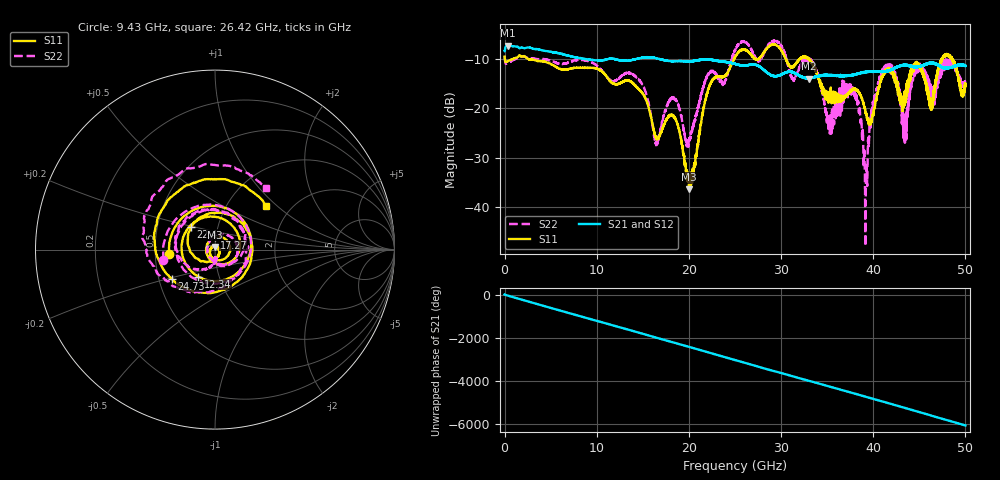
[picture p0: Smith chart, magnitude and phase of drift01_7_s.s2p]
!Created with skrf (http://scikit-rf.org).
# Hz S RI R 50.0
!freq ReS11 ImS11 ReS21 ImS21 ReS12 ImS12 ReS22 ImS22
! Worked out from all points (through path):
!   10001 points, 300 kHz to 50 GHz, reference 50 ohm
!   highest |S21| = -7.33 dB at 325.3 MHz (marker M1); lowest = -14.0 dB at 33.02 GHz (marker M2)
!   group delay of S21, straight-line fit = 335 ps
!   lowest |S11| = -36.4 dB at 20.01 GHz (marker M3), VSWR 1.03, Z = 49.8 + j1.5 ohm
!   |S11| at or under -10 dB: 2.555 GHz to 24.9 GHz (22.35 GHz wide, 163 % of centre); 30.5 GHz to 32.01 GHz (1.512 GHz wide, 4.84 % of centre); 33.04 GHz to 47.41 GHz (14.38 GHz wide, 35.7 % of centre) (the widest 3 of 25)
!   |S22| runs from -47.9 to -6.3 dB; largest |S21 - S12| = 0.0085
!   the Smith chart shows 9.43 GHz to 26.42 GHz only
!   S11 on the Smith chart (normalised r, x): 9.43 GHz: 0.59, -0.03; 12.34 GHz: 0.80, -0.25; 17.27 GHz: 0.99, +0.13; 22.4 GHz: 0.74, +0.20; 24.73 GHz: 0.58, -0.21; 26.42 GHz: 1.53, +0.85
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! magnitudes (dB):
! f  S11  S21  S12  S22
! 300 kHz  -9.5  -8.4  -8.5  -9.5
! 325.3 MHz  -10.5  -7.3  -7.3  -10.9
! 8.335 GHz  -11.8  -9.9  -9.9  -10.2
! 9.43 GHz  -11.8  -10.2  -10.2  -10.7
! 12.34 GHz  -15.1  -10.2  -10.2  -14.0
! 16.67 GHz  -26.2  -10.0  -10.0  -27.0
! 17.27 GHz  -23.4  -10.2  -10.2  -21.4
! 20.01 GHz  -36.4  -10.5  -10.5  -26.5
! 22.4 GHz  -14.7  -10.2  -10.2  -12.6
! 24.73 GHz  -10.7  -10.9  -10.9  -9.5
! 25 GHz  -9.6  -11.0  -11.0  -8.2
! 26.42 GHz  -8.5  -11.3  -11.2  -7.1
! 33.02 GHz  -10.1  -14.0  -13.9  -10.1
! 33.34 GHz  -10.8  -13.8  -13.8  -10.6
! 35.22 GHz  -17.4  -13.3  -13.4  -21.6
! 37.99 GHz  -16.0  -13.1  -13.2  -17.2
! 39.17 GHz  -20.9  -12.7  -12.6  -41.4
! 40.14 GHz  -20.1  -12.5  -12.5  -17.7
! 41.67 GHz  -12.2  -12.3  -12.4  -11.6
! 43.39 GHz  -17.9  -11.3  -11.2  -23.5
! 44.85 GHz  -11.4  -11.6  -11.6  -11.9
! 50 GHz  -15.4  -11.4  -11.4  -15.0
